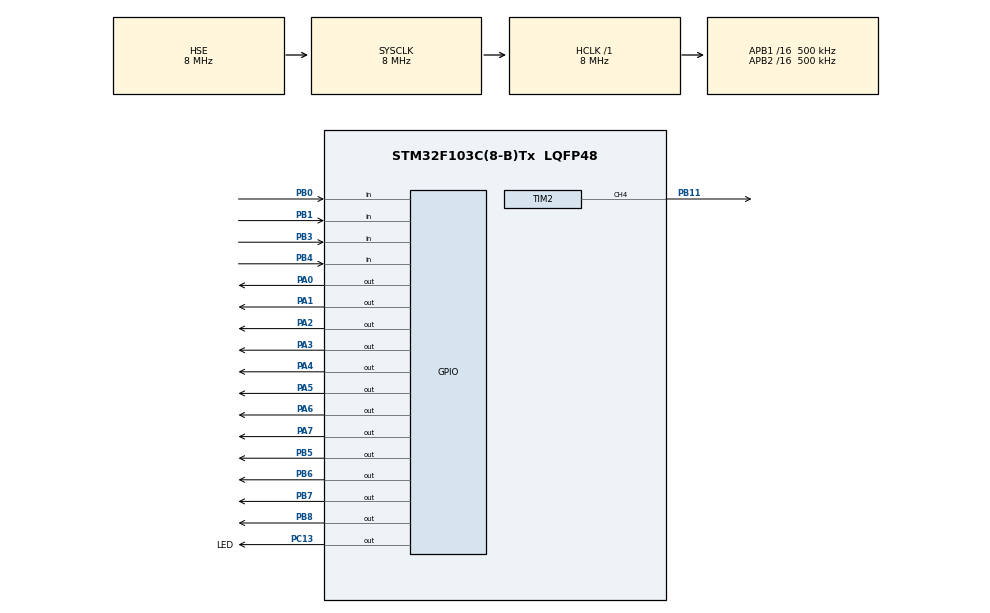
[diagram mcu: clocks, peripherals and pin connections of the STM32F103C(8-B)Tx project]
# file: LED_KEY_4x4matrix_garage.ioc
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Mcu.Family=STM32F1
Mcu.Name=STM32F103C(8-B)Tx
Mcu.Package=LQFP48
NVIC.PriorityGroup=NVIC_PRIORITYGROUP_4
NVIC.TIM3_IRQn=true\:5\:0\:true\:false\:true\:true\:true\:true
NVIC.TIM4_IRQn=true\:5\:0\:true\:false\:true\:true\:true\:true
PA0-WKUP.Signal=GPIO_Output
PA1.Signal=GPIO_Output
PA13.Mode=Serial_Wire
PA13.Signal=SYS_JTMS-SWDIO
PA14.Mode=Serial_Wire
PA14.Signal=SYS_JTCK-SWCLK
PA2.Signal=GPIO_Output
PA3.Signal=GPIO_Output
PA4.PinState=GPIO_PIN_SET
PA4.Signal=GPIO_Output
PA5.PinState=GPIO_PIN_SET
PA5.Signal=GPIO_Output
PA6.PinState=GPIO_PIN_SET
PA6.Signal=GPIO_Output
PA7.PinState=GPIO_PIN_SET
PA7.Signal=GPIO_Output
PB0.GPIO_PuPd=GPIO_PULLUP
PB0.Signal=GPIO_Input
PB1.GPIO_PuPd=GPIO_PULLUP
PB1.Signal=GPIO_Input
PB11.Signal=S_TIM2_CH4
PB3.GPIO_PuPd=GPIO_PULLUP
PB3.Signal=GPIO_Input
PB4.GPIO_PuPd=GPIO_PULLUP
PB4.Signal=GPIO_Input
PB5.GPIO_PuPd=GPIO_PULLUP
PB5.PinState=GPIO_PIN_SET
PB5.Signal=GPIO_Output
PB6.GPIO_PuPd=GPIO_PULLUP
PB6.PinState=GPIO_PIN_SET
PB6.Signal=GPIO_Output
PB7.GPIO_PuPd=GPIO_PULLUP
PB7.PinState=GPIO_PIN_SET
PB7.Signal=GPIO_Output
PB8.GPIO_PuPd=GPIO_PULLUP
PB8.PinState=GPIO_PIN_SET
PB8.Signal=GPIO_Output
PC13-TAMPER-RTC.GPIO_Label=LED
PC13-TAMPER-RTC.Signal=GPIO_Output
PD0-OSC_IN.Mode=HSE-External-Oscillator
PD0-OSC_IN.Signal=RCC_OSC_IN
PD1-OSC_OUT.Mode=HSE-External-Oscillator
PD1-OSC_OUT.Signal=RCC_OSC_OUT
ProjectManager.HeapSize=0x200
ProjectManager.StackSize=0x400
ProjectManager.TargetToolchain=STM32CubeIDE
RCC.AHBFreq_Value=8000000
RCC.APB1CLKDivider=RCC_HCLK_DIV16
RCC.APB1Freq_Value=500000
RCC.APB1TimFreq_Value=1000000
RCC.APB2CLKDivider=RCC_HCLK_DIV16
RCC.APB2Freq_Value=500000
RCC.APB2TimFreq_Value=1000000
RCC.HCLKFreq_Value=8000000
RCC.PLLSourceVirtual=RCC_PLLSOURCE_HSE
RCC.SYSCLKFreq_VALUE=8000000
RCC.SYSCLKSource=RCC_SYSCLKSOURCE_HSE
RCC.USBFreq_Value=16000000
SH.S_TIM2_CH4.0=TIM2_CH4,PWM Generation4 CH4
TIM2.AutoReloadPreload=TIM_AUTORELOAD_PRELOAD_DISABLE
TIM2.Channel-PWM\ Generation4\ CH4=TIM_CHANNEL_4
TIM2.ClockDivision=TIM_CLOCKDIVISION_DIV1
TIM2.Period=61
TIM2.Prescaler=3
TIM2.Pulse-PWM\ Generation4\ CH4=30
TIM3.Period=9
TIM3.Prescaler=999
TIM4.Period=4
TIM4.Prescaler=99
VP_TIM2_VS_ClockSourceINT.Mode=Internal
VP_TIM3_VS_ClockSourceINT.Mode=Internal
VP_TIM4_VS_ClockSourceINT.Mode=Internal
board=custom

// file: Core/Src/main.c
/* USER CODE BEGIN Header */
/**
  ******************************************************************************
  * @file           : main.c
  * @brief          : Main program body
  ******************************************************************************
  * @attention
  *
  * Copyright (c) 2026 STMicroelectronics.
  * All rights reserved.
  *
  * This software is licensed under terms that can be found in the LICENSE file
  * in the root directory of this software component.
  * If no LICENSE file comes with this software, it is provided AS-IS.
  *
  ******************************************************************************
  */
/* USER CODE END Header */
#include "main.h"

/* USER CODE BEGIN Includes */
#include "string.h"
#include "uint16_queue.h"

/* USER CODE END Includes */

TIM_HandleTypeDef htim2;
TIM_HandleTypeDef htim3;
TIM_HandleTypeDef htim4;

/* USER CODE BEGIN PV */
volatile SOFT_TIM_HandleTypeDef stim3 = {.T3 = 10, .T4 = 50};
volatile uint16_t LED4x4Pattern;
volatile uint16_queue notes_F_q = {.front = -1, .rear = -1};
volatile uint16_queue notes_T_q = {.front = -1, .rear = -1};
volatile uint16_queue patterns_img_q = {.front = -1, .rear = -1};
volatile uint16_queue patterns_T_q = {.front = -1, .rear = -1};
const int8_t keypad[4][4] = {{'1','2','3','A'},
                             {'4','5','6','B'},
                             {'7','8','9','C'},
                             {'*','0','#','D'}};
volatile keypad_input_t keypad_input = {.key = 0, .was_processed = true, .is_held = false};
/* USER CODE END PV */

void SystemClock_Config(void);
static void MX_GPIO_Init(void);
static void MX_TIM2_Init(void);
static void MX_TIM3_Init(void);
static void MX_TIM4_Init(void);

/* USER CODE BEGIN 0 */
void playNoteBlocking(uint16_t FHz, uint16_t T10ms)
{
    bool silent;
    const uint32_t baseTimFreq = 250000;    // after PSC: 1MHz/4=250kHz

    silent = !FHz;
    // Fmin = 5Hz
    __HAL_TIM_SET_AUTORELOAD(&htim2, (FHz<=5) ? 49999 : (baseTimFreq / FHz & 0xFFFFE) - 1);
    __HAL_TIM_SET_COMPARE(&htim2, TIM_CHANNEL_4,
                         (FHz<=5) ? 24999 : baseTimFreq / FHz /2 - 1);

    if(silent)
        __HAL_TIM_SET_COMPARE(&htim2, TIM_CHANNEL_4, 0);

    HAL_TIM_Base_Stop_IT(&htim3);    // temp stop for config
    stim3.cnt1 = 0;
    stim3.T1 = T10ms;
    if (HAL_TIM_Base_Start_IT(&htim3) != HAL_OK)
    {
        Error_Handler();
    }
    while(stim3.cnt1 < stim3.T1)    // put sleep and WDR here in the future!
        HAL_Delay(2);
    __HAL_TIM_SET_COMPARE(&htim2, TIM_CHANNEL_4, 0);    // stop playing note
}

void playNote(uint16_t FHz, uint16_t T10ms)
{
    while (uint16_queue_isFull(&notes_F_q))
        HAL_Delay(5);
    uint16_queue_enqueue(&notes_F_q, FHz);
    uint16_queue_enqueue(&notes_T_q, T10ms);
}

void LED4x4DrawBlocking(uint16_t pattern, uint16_t T10ms)
{
    HAL_TIM_Base_Stop_IT(&htim3);
    HAL_TIM_Base_Stop_IT(&htim4);

    stim3.cnt2 = 0;
    stim3.T2 = T10ms;
    LED4x4Pattern = pattern;

    HAL_TIM_Base_Start_IT(&htim3);
    HAL_TIM_Base_Start_IT(&htim4);

    while(stim3.cnt2 < stim3.T2)    // put sleep and WDR here in the future!
        HAL_Delay(2);
}

void LED4x4Draw(uint16_t pattern, uint16_t T10ms)
{
    while (uint16_queue_isFull(&patterns_img_q))
        HAL_Delay(5);
    uint16_queue_enqueue(&patterns_img_q, pattern);
    uint16_queue_enqueue(&patterns_T_q, T10ms);
}

void keyDrawOnLED4x4(char key, bool inverted)
{
    uint16_t pattern;
    switch(key)
    {
        case '1': pattern = 0b1000000000000000;  break;
        case '2': pattern = 0b0100000000000000;  break;
        case '3': pattern = 0b0010000000000000;  break;
        case 'A': pattern = 0b0001000000000000;  break;
        case '4': pattern = 0b0000100000000000;  break;
        case '5': pattern = 0b0000010000000000;  break;
        case '6': pattern = 0b0000001000000000;  break;
        case 'B': pattern = 0b0000000100000000;  break;
        case '7': pattern = 0b0000000010000000;  break;
        case '8': pattern = 0b0000000001000000;  break;
        case '9': pattern = 0b0000000000100000;  break;
        case 'C': pattern = 0b0000000000010000;  break;
        case '*': pattern = 0b0000000000001000;  break;
        case '0': pattern = 0b0000000000000100;  break;
        case '#': pattern = 0b0000000000000010;  break;
        case 'D': pattern = 0b0000000000000001;  break;
        default:  pattern = 0;                   break;
    }
    pattern = inverted ? ~pattern : pattern;
    LED4x4Draw(pattern, 30);
    inverted ? LED4x4Draw(0xFFFF,10) : LED4x4Draw(0x0000,10);
}

void TIM3_PeriodElapsedCallback_ISR(TIM_HandleTypeDef *htim)
{
    bool silent;
    const uint32_t noteBaseTimFreq = 250000;    // after PSC: 1MHz/4=250kHz
    uint16_t note_FHz;
    static int8_t irow, pressed_col;

    if(stim3.cnt1 < stim3.T1)
        stim3.cnt1 ++;
    else if(stim3.cnt1 == stim3.T1)    // ISR
    {
        __HAL_TIM_SET_COMPARE(&htim2, TIM_CHANNEL_4, 0);    // stop playing note
        if (uint16_queue_isEmpty(&notes_F_q))
            stim3.T1 = 0;    // check at htim3 period (==10ms) for notes
        else
        {
            // start playing next buffered note
            note_FHz = uint16_queue_dequeue(&notes_F_q);
            stim3.T1 = uint16_queue_dequeue(&notes_T_q);

            silent = !note_FHz;
            // Fmin = 5Hz
            __HAL_TIM_SET_AUTORELOAD(&htim2, (note_FHz<=5) ? 49999 : (noteBaseTimFreq / note_FHz & 0xFFFFE) - 1);
            __HAL_TIM_SET_COMPARE(&htim2, TIM_CHANNEL_4,
                                 (note_FHz<=5) ? 24999 : noteBaseTimFreq / note_FHz /2 - 1);
            if(silent)
                __HAL_TIM_SET_COMPARE(&htim2, TIM_CHANNEL_4, 0);
        }
        stim3.cnt1 = 0;
    }

    if(stim3.cnt2 < stim3.T2)
        stim3.cnt2 ++;
    else if(stim3.cnt2 == stim3.T2)    // ISR
    {
        //LED4x4Pattern = 0x0000;    // the screen should be cleared from main
        // to hold the last pattern, htim4 must keep running
        //HAL_TIM_Base_Stop_IT(&htim4);
        if (uint16_queue_isEmpty(&patterns_img_q))
            stim3.T2 = 0;    // check at htim3 period (==10ms) for patterns
        else
        {
            LED4x4Pattern = uint16_queue_dequeue(&patterns_img_q);
            stim3.T2 = uint16_queue_dequeue(&patterns_T_q);
        }
        stim3.cnt2 = 0;
    }

    // keypad scanning, stim3.T3_1 = 0 (10ms period)
    //if(stim3.cnt3_1 < stim3.T3)
    //    stim3.cnt3_1 ++;
    //else if(stim3.cnt3_1 == stim3.T3)    // ISR
    //{
    //    if(!HAL_GPIO_ReadPin(KEY4x4_Port,KEY4x4_C1) || !HAL_GPIO_ReadPin(KEY4x4_Port,KEY4x4_C1)
    //       || !HAL_GPIO_ReadPin(KEY4x4_Port,KEY4x4_C1) || !HAL_GPIO_ReadPin(KEY4x4_Port,KEY4x4_C1))
    //    {
    //        ;
    //    }
    //    stim3.cnt3_1++;
    //}
    if (!keypad_input.is_held)
    {
        pressed_col = -1;    // read col
        pressed_col = !HAL_GPIO_ReadPin(KEY4x4_Port, KEY4x4_C1) ? 0 : pressed_col;
        pressed_col = !HAL_GPIO_ReadPin(KEY4x4_Port, KEY4x4_C2) ? 1 : pressed_col;
        pressed_col = !HAL_GPIO_ReadPin(KEY4x4_Port, KEY4x4_C3) ? 2 : pressed_col;
        pressed_col = !HAL_GPIO_ReadPin(KEY4x4_Port, KEY4x4_C4) ? 3 : pressed_col;
        if (pressed_col != -1)
        {
            keypad_input.key = keypad[irow][pressed_col];
            keypad_input.was_processed = false;
            keypad_input.is_held = true;
        }
        else    // no keypress, iterate row
        {
            irow = (irow+1) & 0b0011;
            switch(irow)
            {
                case 0: HAL_GPIO_WritePin(KEY4x4_Port, KEY4x4_R4, 1);
                        HAL_GPIO_WritePin(KEY4x4_Port, KEY4x4_R1, 0);
                        break;
                case 1: HAL_GPIO_WritePin(KEY4x4_Port, KEY4x4_R1, 1);
                        HAL_GPIO_WritePin(KEY4x4_Port, KEY4x4_R2, 0);
                        break;
                case 2: HAL_GPIO_WritePin(KEY4x4_Port, KEY4x4_R2, 1);
                        HAL_GPIO_WritePin(KEY4x4_Port, KEY4x4_R3, 0);
                        break;
                case 3: HAL_GPIO_WritePin(KEY4x4_Port, KEY4x4_R3, 1);
                        HAL_GPIO_WritePin(KEY4x4_Port, KEY4x4_R4, 0);
                        break;
            }
        }
    }
    else    // wait for release
    {
        pressed_col = -1;
        pressed_col = !HAL_GPIO_ReadPin(KEY4x4_Port, KEY4x4_C1) ? 0 : pressed_col;
        pressed_col = !HAL_GPIO_ReadPin(KEY4x4_Port, KEY4x4_C2) ? 1 : pressed_col;
        pressed_col = !HAL_GPIO_ReadPin(KEY4x4_Port, KEY4x4_C3) ? 2 : pressed_col;
        pressed_col = !HAL_GPIO_ReadPin(KEY4x4_Port, KEY4x4_C4) ? 3 : pressed_col;
        // still pressed, but something else -> register;  wait if same key
        if ((pressed_col != -1) && (keypad[irow][pressed_col] != keypad_input.key))
        {
            keypad_input.key = keypad[irow][pressed_col];
            keypad_input.was_processed = false;
        }
        else if (pressed_col == -1)
            keypad_input.is_held = false;
    }
    // cnt3_1 oneshot operation
    if(stim3.cnt3_1 < stim3.T3)
        stim3.cnt3_1 ++;

    if(stim3.cnt4 < stim3.T4)
        stim3.cnt4 ++;
    else if(stim3.cnt4 == stim3.T4)    // ISR
    {
        HAL_GPIO_TogglePin(LED_GPIO_Port, LED_Pin);
        //HAL_GPIO_TogglePin(GPIOC, GPIO_PIN_13);
        stim3.cnt4 = 0;
    }
}

void TIM4_PeriodElapsedCallback_ISR(TIM_HandleTypeDef *htim)
{
  static uint8_t iled=0;
  bool lit;

  lit = LED4x4Pattern & (1<<(15-iled));
  switch(iled)
  {
    case 0:   HAL_GPIO_WritePin(LED4x4_Port, LED4x4_C1, lit);
              HAL_GPIO_WritePin(LED4x4_Port, LED4x4_R1, !lit);
              HAL_GPIO_WritePin(LED4x4_Port, LED4x4_C4, 0);
              HAL_GPIO_WritePin(LED4x4_Port, LED4x4_R4, 1);
              break;
    case 1:   HAL_GPIO_WritePin(LED4x4_Port, LED4x4_C2, lit);
              HAL_GPIO_WritePin(LED4x4_Port, LED4x4_R1, !lit);
              HAL_GPIO_WritePin(LED4x4_Port, LED4x4_C1, 0);
              break;
    case 2:   HAL_GPIO_WritePin(LED4x4_Port, LED4x4_C3, lit);
              HAL_GPIO_WritePin(LED4x4_Port, LED4x4_R1, !lit);
              HAL_GPIO_WritePin(LED4x4_Port, LED4x4_C2, 0);
              break;
    case 3:   HAL_GPIO_WritePin(LED4x4_Port, LED4x4_C4, lit);
              HAL_GPIO_WritePin(LED4x4_Port, LED4x4_R1, !lit);
              HAL_GPIO_WritePin(LED4x4_Port, LED4x4_C3, 0);
              break;
    case 4:   HAL_GPIO_WritePin(LED4x4_Port, LED4x4_C1, lit);
              HAL_GPIO_WritePin(LED4x4_Port, LED4x4_R2, !lit);
              HAL_GPIO_WritePin(LED4x4_Port, LED4x4_C4, 0);
              HAL_GPIO_WritePin(LED4x4_Port, LED4x4_R1, 1);
              break;
    case 5:   HAL_GPIO_WritePin(LED4x4_Port, LED4x4_C2, lit);
              HAL_GPIO_WritePin(LED4x4_Port, LED4x4_R2, !lit);
              HAL_GPIO_WritePin(LED4x4_Port, LED4x4_C1, 0);
              break;
    case 6:   HAL_GPIO_WritePin(LED4x4_Port, LED4x4_C3, lit);
              HAL_GPIO_WritePin(LED4x4_Port, LED4x4_R2, !lit);
              HAL_GPIO_WritePin(LED4x4_Port, LED4x4_C2, 0);
              break;
    case 7:   HAL_GPIO_WritePin(LED4x4_Port, LED4x4_C4, lit);
              HAL_GPIO_WritePin(LED4x4_Port, LED4x4_R2, !lit);
              HAL_GPIO_WritePin(LED4x4_Port, LED4x4_C3, 0);
              break;
    case 8:   HAL_GPIO_WritePin(LED4x4_Port, LED4x4_C1, lit);
              HAL_GPIO_WritePin(LED4x4_Port, LED4x4_R3, !lit);
              HAL_GPIO_WritePin(LED4x4_Port, LED4x4_C4, 0);
              HAL_GPIO_WritePin(LED4x4_Port, LED4x4_R2, 1);
              break;
    case 9:   HAL_GPIO_WritePin(LED4x4_Port, LED4x4_C2, lit);
              HAL_GPIO_WritePin(LED4x4_Port, LED4x4_R3, !lit);
              HAL_GPIO_WritePin(LED4x4_Port, LED4x4_C1, 0);
              break;
    case 10:  HAL_GPIO_WritePin(LED4x4_Port, LED4x4_C3, lit);
              HAL_GPIO_WritePin(LED4x4_Port, LED4x4_R3, !lit);
              HAL_GPIO_WritePin(LED4x4_Port, LED4x4_C2, 0);
              break;
    case 11:  HAL_GPIO_WritePin(LED4x4_Port, LED4x4_C4, lit);
              HAL_GPIO_WritePin(LED4x4_Port, LED4x4_R3, !lit);
              HAL_GPIO_WritePin(LED4x4_Port, LED4x4_C3, 0);
              break;
    case 12:  HAL_GPIO_WritePin(LED4x4_Port, LED4x4_C1, lit);
              HAL_GPIO_WritePin(LED4x4_Port, LED4x4_R4, !lit);
              HAL_GPIO_WritePin(LED4x4_Port, LED4x4_C4, 0);
              HAL_GPIO_WritePin(LED4x4_Port, LED4x4_R3, 1);
              break;
    case 13:  HAL_GPIO_WritePin(LED4x4_Port, LED4x4_C2, lit);
              HAL_GPIO_WritePin(LED4x4_Port, LED4x4_R4, !lit);
              HAL_GPIO_WritePin(LED4x4_Port, LED4x4_C1, 0);
              break;
    case 14:  HAL_GPIO_WritePin(LED4x4_Port, LED4x4_C3, lit);
              HAL_GPIO_WritePin(LED4x4_Port, LED4x4_R4, !lit);
              HAL_GPIO_WritePin(LED4x4_Port, LED4x4_C2, 0);
              break;
    case 15:  HAL_GPIO_WritePin(LED4x4_Port, LED4x4_C4, lit);
              HAL_GPIO_WritePin(LED4x4_Port, LED4x4_R4, !lit);
              HAL_GPIO_WritePin(LED4x4_Port, LED4x4_C3, 0);
              break;
  }

  iled = (iled+1) % 16;
}

void HAL_TIM_PeriodElapsedCallback(TIM_HandleTypeDef *htim)
{
    if      (htim->Instance == TIM3)
        TIM3_PeriodElapsedCallback_ISR(htim);
    else if (htim->Instance == TIM4)
        TIM4_PeriodElapsedCallback_ISR(htim);
}

/* USER CODE END 0 */

int main(void)
{

  /* MCU Configuration--------------------------------------------------------*/

  /* Reset of all peripherals, Initializes the Flash interface and the Systick. */
  HAL_Init();

  /* Configure the system clock */
  SystemClock_Config();

  /* Initialize all configured peripherals */
  MX_GPIO_Init();
  MX_TIM2_Init();
  MX_TIM3_Init();
  MX_TIM4_Init();
  /* USER CODE BEGIN 2 */
    char stored_pass[MAX_PASS_LEN+1];
    uint8_t stored_pass_len = 0;
    char typed_pass[MAX_PASS_LEN+1], last_typed_char = 0;
    enum lock_state_t {LOCKED, UNLOCKED, SET_NEW_CHECK_OLD, SET_NEW} lock_state = UNLOCKED;
    int i, j;

    HAL_TIM_Base_Start_IT(&htim3);
    HAL_TIM_Base_Start_IT(&htim4);
    HAL_TIM_PWM_Start(&htim2, TIM_CHANNEL_4);

    for(i=0; i<16; i++)
    {
        LED4x4Draw(0x8000>>i, 50);
        LED4x4Draw(0, 30);
    }

    LED4x4Draw(0b1000101100001111, 100);
    LED4x4Draw(0b0000000000000000, 50);

    LED4x4Draw(0b0111010011110010, 100);
    LED4x4Draw(0b0000000000000000, 50);

    LED4x4Draw(0b1010101010101010, 100);
    LED4x4Draw(0b0000000000000000, 50);

    LED4x4Draw(0b1000101100001111, 100);
    LED4x4Draw(0b0000000000000000, 50);

    LED4x4Draw(0b0111010011110010, 100);
    LED4x4Draw(0b0000000000000000, 50);

    LED4x4Draw(0b1010101010101010, 100);
    LED4x4Draw(0b0000000000000000, 50);

    playNote(1500,100);
    playNote(0,50);
    playNote(1500,100);
    playNote(0,50);
    playNote(2000,100);
    playNote(0,50);
    playNote(6000,50);

    playNote(1500,100);
    playNote(0,50);
    playNote(1500,100);
    playNote(0,50);
    playNote(2000,100);
    playNote(0,50);
    playNote(2500,100);
    playNote(0,50);
    playNote(3500,100);
    playNote(0,50);

    playNote(1000,40);
    playNote(500,40);

    playNote(0,100);
    //playNote(10000,300);
    playNote(5500,300);
  /* USER CODE END 2 */

  /* Infinite loop */
  /* USER CODE BEGIN WHILE */
    i = 0;
    LED4x4Draw(0b0000000000000000, 10);
    while (1)
    {
        if (!keypad_input.was_processed)
        {
            switch (lock_state)
            {
                case UNLOCKED:
                    if (keypad_input.key == '#'  &&  last_typed_char == '#')
                    {
                        LED4x4Draw(0b1111000000000000, 100);
                        LED4x4Draw(0b1111111100000000, 100);
                        LED4x4Draw(0b1111111111110000, 100);
                        LED4x4Draw(0b1111111111111111, 100);
                        lock_state = LOCKED;
                    }
                    if (keypad_input.key == '*'  &&  last_typed_char == '*')
                    {
                        playNote(880, 20);
                        lock_state = SET_NEW_CHECK_OLD;
                    }
                    break;

                case SET_NEW_CHECK_OLD:
                    if (keypad_input.key == '*')        // flush
                        i = 0;
                    else if (keypad_input.key == '#'  ||  i >= MAX_PASS_LEN)    // check
                    {
                        if (i==stored_pass_len && !memcmp(typed_pass, stored_pass, i))
                        {
                            playNote(440, 50);    // play success tune
                            playNote(0, 25);
                            playNote(440, 50);
                            playNote(0, 25);
                            playNote(440, 40);
                            playNote(880, 40);
                            playNote(1760, 40);
                            lock_state = SET_NEW;
                        }
                        else
                        {
                            playNote(440, 50);    // play fail tune
                            playNote(0, 25);
                            playNote(220, 50);
                            playNote(0, 25);
                            playNote(220, 50);
                            lock_state = UNLOCKED;
                        }
                        i = 0;
                    }
                    else            // store char
                        typed_pass[i++] = keypad_input.key;
                    break;

                case SET_NEW:
                    if (keypad_input.key == '*')
                        i = 0;
                    else if (keypad_input.key == '#'  ||  i >= MAX_PASS_LEN)
                    {
                        LED4x4Draw(0b1111000000000000, 100);
                        LED4x4Draw(0b1111111100000000, 100);
                        LED4x4Draw(0b1111111111110000, 100);
                        LED4x4Draw(0b1111111111111111, 100);
                        stored_pass_len = i;
                        i = 0;
                        lock_state = LOCKED;
                    }
                    else
                        stored_pass[i++] = keypad_input.key;
                    break;

                case LOCKED:
                    if (keypad_input.key == '*')        // flush
                        i = 0;
                    else if (keypad_input.key == '#'  || i >= MAX_PASS_LEN)    // check
                    {
                        if (i==stored_pass_len && !memcmp(typed_pass, stored_pass, i))
                        {
                            lock_state = UNLOCKED;
                            playNote(1760, 50);    // play success tune
                            playNote(0, 25);
                            playNote(880, 50);
                            playNote(0, 25);
                            playNote(3520, 50);
                            LED4x4Draw(0b1111111111110000, 100);
                            LED4x4Draw(0b1111111100000000, 100);
                            LED4x4Draw(0b1111000000000000, 100);
                            LED4x4Draw(0b0000000000000000, 100);
                        }
                        else
                        {
                            playNote(440, 50);    // play fail tune
                            playNote(0, 25);
                            playNote(220, 50);
                            playNote(0, 25);
                            playNote(220, 50);
                        }
                        i = 0;
                    }
                    else            // store char
                        typed_pass[i++] = keypad_input.key;
                    break;
            }
            keyDrawOnLED4x4(keypad_input.key, lock_state==LOCKED);
            last_typed_char = keypad_input.key;
            keypad_input.was_processed = true;
        }
        //HAL_Delay(100);
        HAL_SuspendTick();
        stim3.cnt3_1 = 0;
        while(stim3.cnt3_1 < 10)  __WFI();    // try to sleep for 100ms
        HAL_ResumeTick();
    /* USER CODE END WHILE */

    }
}

void SystemClock_Config(void)
{
  RCC_OscInitTypeDef RCC_OscInitStruct = {0};
  RCC_ClkInitTypeDef RCC_ClkInitStruct = {0};

  /** Initializes the RCC Oscillators according to the specified parameters
  * in the RCC_OscInitTypeDef structure.
  */
  RCC_OscInitStruct.OscillatorType = RCC_OSCILLATORTYPE_HSE;
  RCC_OscInitStruct.HSEState = RCC_HSE_ON;
  RCC_OscInitStruct.PLL.PLLState = RCC_PLL_NONE;
  if (HAL_RCC_OscConfig(&RCC_OscInitStruct) != HAL_OK)
  {
    Error_Handler();
  }

  /** Initializes the CPU, AHB and APB buses clocks
  */
  RCC_ClkInitStruct.ClockType = RCC_CLOCKTYPE_HCLK|RCC_CLOCKTYPE_SYSCLK
                              |RCC_CLOCKTYPE_PCLK1|RCC_CLOCKTYPE_PCLK2;
  RCC_ClkInitStruct.SYSCLKSource = RCC_SYSCLKSOURCE_HSE;
  RCC_ClkInitStruct.AHBCLKDivider = RCC_SYSCLK_DIV1;
  RCC_ClkInitStruct.APB1CLKDivider = RCC_HCLK_DIV16;
  RCC_ClkInitStruct.APB2CLKDivider = RCC_HCLK_DIV16;

  if (HAL_RCC_ClockConfig(&RCC_ClkInitStruct, FLASH_LATENCY_0) != HAL_OK)
  {
    Error_Handler();
  }
}

static void MX_TIM2_Init(void)
{

  TIM_ClockConfigTypeDef sClockSourceConfig = {0};
  TIM_MasterConfigTypeDef sMasterConfig = {0};
  TIM_OC_InitTypeDef sConfigOC = {0};

  htim2.Instance = TIM2;
  htim2.Init.Prescaler = 3;
  htim2.Init.CounterMode = TIM_COUNTERMODE_UP;
  htim2.Init.Period = 61;
  htim2.Init.ClockDivision = TIM_CLOCKDIVISION_DIV1;
  htim2.Init.AutoReloadPreload = TIM_AUTORELOAD_PRELOAD_DISABLE;
  if (HAL_TIM_Base_Init(&htim2) != HAL_OK)
  {
    Error_Handler();
  }
  sClockSourceConfig.ClockSource = TIM_CLOCKSOURCE_INTERNAL;
  if (HAL_TIM_ConfigClockSource(&htim2, &sClockSourceConfig) != HAL_OK)
  {
    Error_Handler();
  }
  if (HAL_TIM_PWM_Init(&htim2) != HAL_OK)
  {
    Error_Handler();
  }
  sMasterConfig.MasterOutputTrigger = TIM_TRGO_RESET;
  sMasterConfig.MasterSlaveMode = TIM_MASTERSLAVEMODE_DISABLE;
  if (HAL_TIMEx_MasterConfigSynchronization(&htim2, &sMasterConfig) != HAL_OK)
  {
    Error_Handler();
  }
  sConfigOC.OCMode = TIM_OCMODE_PWM1;
  sConfigOC.Pulse = 30;
  sConfigOC.OCPolarity = TIM_OCPOLARITY_HIGH;
  sConfigOC.OCFastMode = TIM_OCFAST_DISABLE;
  if (HAL_TIM_PWM_ConfigChannel(&htim2, &sConfigOC, TIM_CHANNEL_4) != HAL_OK)
  {
    Error_Handler();
  }
  HAL_TIM_MspPostInit(&htim2);

}

static void MX_TIM3_Init(void)
{

  TIM_ClockConfigTypeDef sClockSourceConfig = {0};
  TIM_MasterConfigTypeDef sMasterConfig = {0};

  htim3.Instance = TIM3;
  htim3.Init.Prescaler = 999;
  htim3.Init.CounterMode = TIM_COUNTERMODE_UP;
  htim3.Init.Period = 9;
  htim3.Init.ClockDivision = TIM_CLOCKDIVISION_DIV1;
  htim3.Init.AutoReloadPreload = TIM_AUTORELOAD_PRELOAD_DISABLE;
  if (HAL_TIM_Base_Init(&htim3) != HAL_OK)
  {
    Error_Handler();
  }
  sClockSourceConfig.ClockSource = TIM_CLOCKSOURCE_INTERNAL;
  if (HAL_TIM_ConfigClockSource(&htim3, &sClockSourceConfig) != HAL_OK)
  {
    Error_Handler();
  }
  sMasterConfig.MasterOutputTrigger = TIM_TRGO_RESET;
  sMasterConfig.MasterSlaveMode = TIM_MASTERSLAVEMODE_DISABLE;
  if (HAL_TIMEx_MasterConfigSynchronization(&htim3, &sMasterConfig) != HAL_OK)
  {
    Error_Handler();
  }

}

static void MX_TIM4_Init(void)
{

  TIM_ClockConfigTypeDef sClockSourceConfig = {0};
  TIM_MasterConfigTypeDef sMasterConfig = {0};

  htim4.Instance = TIM4;
  htim4.Init.Prescaler = 99;
  htim4.Init.CounterMode = TIM_COUNTERMODE_UP;
  htim4.Init.Period = 4;
  htim4.Init.ClockDivision = TIM_CLOCKDIVISION_DIV1;
  htim4.Init.AutoReloadPreload = TIM_AUTORELOAD_PRELOAD_DISABLE;
  if (HAL_TIM_Base_Init(&htim4) != HAL_OK)
  {
    Error_Handler();
  }
  sClockSourceConfig.ClockSource = TIM_CLOCKSOURCE_INTERNAL;
  if (HAL_TIM_ConfigClockSource(&htim4, &sClockSourceConfig) != HAL_OK)
  {
    Error_Handler();
  }
  sMasterConfig.MasterOutputTrigger = TIM_TRGO_RESET;
  sMasterConfig.MasterSlaveMode = TIM_MASTERSLAVEMODE_DISABLE;
  if (HAL_TIMEx_MasterConfigSynchronization(&htim4, &sMasterConfig) != HAL_OK)
  {
    Error_Handler();
  }

}

static void MX_GPIO_Init(void)
{
  GPIO_InitTypeDef GPIO_InitStruct = {0};

  /* GPIO Ports Clock Enable */
  __HAL_RCC_GPIOC_CLK_ENABLE();
  __HAL_RCC_GPIOD_CLK_ENABLE();
  __HAL_RCC_GPIOA_CLK_ENABLE();
  __HAL_RCC_GPIOB_CLK_ENABLE();

  /*Configure GPIO pin Output Level */
  HAL_GPIO_WritePin(LED_GPIO_Port, LED_Pin, GPIO_PIN_RESET);

  /*Configure GPIO pin Output Level */
  HAL_GPIO_WritePin(GPIOA, GPIO_PIN_0|GPIO_PIN_1|GPIO_PIN_2|GPIO_PIN_3, GPIO_PIN_RESET);

  /*Configure GPIO pin Output Level */
  HAL_GPIO_WritePin(GPIOA, GPIO_PIN_4|GPIO_PIN_5|GPIO_PIN_6|GPIO_PIN_7, GPIO_PIN_SET);

  /*Configure GPIO pin Output Level */
  HAL_GPIO_WritePin(GPIOB, GPIO_PIN_5|GPIO_PIN_6|GPIO_PIN_7|GPIO_PIN_8, GPIO_PIN_SET);

  /*Configure GPIO pin : LED_Pin */
  GPIO_InitStruct.Pin = LED_Pin;
  GPIO_InitStruct.Mode = GPIO_MODE_OUTPUT_PP;
  GPIO_InitStruct.Pull = GPIO_NOPULL;
  GPIO_InitStruct.Speed = GPIO_SPEED_FREQ_LOW;
  HAL_GPIO_Init(LED_GPIO_Port, &GPIO_InitStruct);

  /*Configure GPIO pins : PA0 PA1 PA2 PA3
                           PA4 PA5 PA6 PA7 */
  GPIO_InitStruct.Pin = GPIO_PIN_0|GPIO_PIN_1|GPIO_PIN_2|GPIO_PIN_3
                          |GPIO_PIN_4|GPIO_PIN_5|GPIO_PIN_6|GPIO_PIN_7;
  GPIO_InitStruct.Mode = GPIO_MODE_OUTPUT_PP;
  GPIO_InitStruct.Pull = GPIO_NOPULL;
  GPIO_InitStruct.Speed = GPIO_SPEED_FREQ_LOW;
  HAL_GPIO_Init(GPIOA, &GPIO_InitStruct);

  /*Configure GPIO pins : PB0 PB1 PB3 PB4 */
  GPIO_InitStruct.Pin = GPIO_PIN_0|GPIO_PIN_1|GPIO_PIN_3|GPIO_PIN_4;
  GPIO_InitStruct.Mode = GPIO_MODE_INPUT;
  GPIO_InitStruct.Pull = GPIO_PULLUP;
  HAL_GPIO_Init(GPIOB, &GPIO_InitStruct);

  /*Configure GPIO pins : PB5 PB6 PB7 PB8 */
  GPIO_InitStruct.Pin = GPIO_PIN_5|GPIO_PIN_6|GPIO_PIN_7|GPIO_PIN_8;
  GPIO_InitStruct.Mode = GPIO_MODE_OUTPUT_PP;
  GPIO_InitStruct.Pull = GPIO_PULLUP;
  GPIO_InitStruct.Speed = GPIO_SPEED_FREQ_LOW;
  HAL_GPIO_Init(GPIOB, &GPIO_InitStruct);

}

void Error_Handler(void)
{
  __disable_irq();
  while (1)
  {
  }
}
